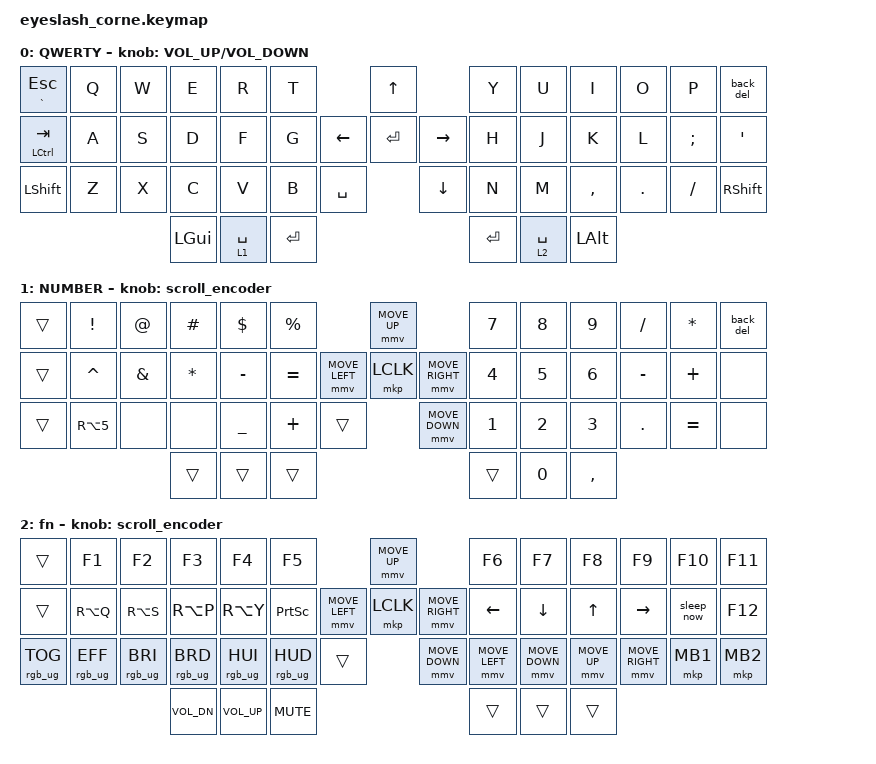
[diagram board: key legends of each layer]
#define ZMK_POINTING_DEFAULT_MOVE_VAL 1200  // 600
#define ZMK_POINTING_DEFAULT_SCRL_VAL 25   // 10

#include <input/processors.dtsi>
#include <zephyr/dt-bindings/input/input-event-codes.h>
#include <behaviors.dtsi>
#include <dt-bindings/zmk/keys.h>
#include <dt-bindings/zmk/pointing.h>
#include <dt-bindings/zmk/rgb.h>

&mmv_input_listener { input-processors = <&zip_xy_scaler 2 1>; };

&msc_input_listener { input-processors = <&zip_scroll_scaler 2 1>; };

&msc {
    acceleration-exponent = <1>;      // 0
    time-to-max-speed-ms = <100>;       // 300
    delay-ms = <0>;                   // 0
};

&mmv {
    time-to-max-speed-ms = <500>;
    acceleration-exponent = <1>;
    trigger-period-ms = <16>;
};

/ {
    behaviors {
        back_del: back_del {
            compatible = "zmk,behavior-mod-morph";
            label = "BACK_DEL";
            bindings = <&kp BACKSPACE>, <&kp DELETE>;

            #binding-cells = <0>;
            mods = <(MOD_RSFT|MOD_LSFT)>;
        };
    };

    rgb_encoder: rgb_encoder {
        compatible = "zmk,behavior-sensor-rotate";
        #sensor-binding-cells = <0>;
        bindings = <&rgb_ug RGB_BRI>, <&rgb_ug RGB_BRD>;
    };

    scroll_encoder: scroll_encoder {
        compatible = "zmk,behavior-sensor-rotate";
        #sensor-binding-cells = <0>;
        bindings = <&msc SCRL_DOWN>, <&msc SCRL_UP>;

        tap-ms = <100>;
    };

    combos {
        compatible = "zmk,combos";

        combo_caps {
            bindings = <&kp CAPS>;
            key-positions = <28 41>;
        };

        combo_esc {
            bindings = <&kp ESCAPE>;
            key-positions = <23 24>;
        };

        combo_leftLP {
            bindings = <&kp LEFT_PARENTHESIS>;
            key-positions = <17 18>;
        };

        combo_leftBR {
            bindings = <&kp LEFT_BRACE>;
            key-positions = <32 33>;
        };

        combo_leftBT {
            bindings = <&kp LEFT_BRACKET>;
            key-positions = <4 5>;
        };

        combo_rightPT {
            bindings = <&kp RIGHT_PARENTHESIS>;
            key-positions = <22 23>;
        };

        combo_rightBR {
            bindings = <&kp RIGHT_BRACE>;
            key-positions = <36 37>;
        };

        combo_rightBT {
            bindings = <&kp RIGHT_BRACKET>;
            key-positions = <7 8>;
        };

        combo_backslash {
            bindings = <&kp NON_US_BACKSLASH>;
            key-positions = <40 39>;
        };

        combo_pipe {
            bindings = <&kp PIPE>;
            key-positions = <40 41>;
        };
    };

    keymap {
        compatible = "zmk,keymap";

        default_layer {
            display-name = "QWERTY";
            bindings = <
&mt GRAVE ESCAPE  &kp Q  &kp W  &kp E     &kp R        &kp T                             &kp UP                &kp Y      &kp U        &kp I         &kp O    &kp P     &back_del
&mt LCTRL TAB     &kp A  &kp S  &kp D     &kp F        &kp G                   &kp LEFT  &kp ENTER  &kp RIGHT  &kp H      &kp J        &kp K         &kp L    &kp SEMI  &kp SQT
&kp LEFT_SHIFT    &kp Z  &kp X  &kp C     &kp V        &kp B      &kp SPACE              &kp DOWN              &kp N      &kp M        &kp COMMA     &kp DOT  &kp FSLH  &kp RIGHT_SHIFT
                                &kp LGUI  &lt 1 SPACE  &kp ENTER                                               &kp ENTER  &lt 2 SPACE  &kp LEFT_ALT
            >;

            sensor-bindings = <&inc_dec_kp C_VOLUME_UP C_VOLUME_DOWN>;
        };

        lower_layer {
            display-name = "NUMBER";
            bindings = <
&trans  &kp EXCLAMATION  &kp AT_SIGN    &kp POUND     &kp DOLLAR      &kp PERCENT                            &mmv MOVE_UP                     &kp N7        &kp N8        &kp N9        &kp SLASH   &kp ASTERISK  &back_del
&trans  &kp CARET        &kp AMPERSAND  &kp ASTERISK  &kp MINUS       &kp EQUAL              &mmv MOVE_LEFT  &mkp LCLK       &mmv MOVE_RIGHT  &kp NUMBER_4  &kp N5        &kp NUMBER_6  &kp MINUS   &kp PLUS      &none
&trans  &kp RA(N5)       &none          &none         &kp UNDERSCORE  &kp PLUS     &trans                    &mmv MOVE_DOWN                   &kp NUMBER_1  &kp NUMBER_2  &kp NUMBER_3  &kp PERIOD  &kp EQUAL     &none
                                        &trans        &trans          &trans                                                                  &trans        &kp N0        &kp COMMA
            >;

            sensor-bindings = <&scroll_encoder>;
        };

        raise_layer {
            display-name = "fn";
            bindings = <
&trans           &kp F1           &kp F2           &kp F3           &kp F4           &kp F5                                     &mmv MOVE_UP                     &kp F6          &kp F7          &kp F8        &kp F9           &kp F10   &kp F11
&trans           &kp RA(Q)        &kp RA(S)        &kp RA(P)        &kp RA(Y)        &kp PRINTSCREEN            &mmv MOVE_LEFT  &mkp LCLK       &mmv MOVE_RIGHT  &kp LEFT        &kp DOWN        &kp UP_ARROW  &kp RIGHT        &sleep_now     &kp F12
&rgb_ug RGB_TOG  &rgb_ug RGB_EFF  &rgb_ug RGB_BRI  &rgb_ug RGB_BRD  &rgb_ug RGB_HUI  &rgb_ug RGB_HUD  &trans                    &mmv MOVE_DOWN                   &mmv MOVE_LEFT  &mmv MOVE_DOWN  &mmv MOVE_UP  &mmv MOVE_RIGHT  &mkp MB1  &mkp MB2
                                                   &kp C_VOL_DN     &kp C_VOL_UP     &kp K_MUTE                                                                  &trans          &trans          &trans
            >;

            sensor-bindings = <&scroll_encoder>;
        };
    };
};
